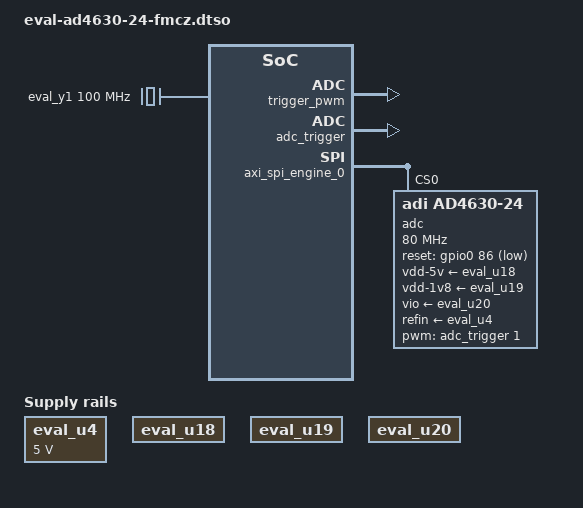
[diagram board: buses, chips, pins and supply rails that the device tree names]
/*
 * https://www.analog.com/en/resources/evaluation-hardware-and-software/evaluation-boards-kits/EVAL-AD4630-24.html
 */

/dts-v1/;
/plugin/;

#include <dt-bindings/gpio/gpio.h>
#include <dt-bindings/interrupt-controller/irq.h>

&{/} {
	eval_u4: eval-board-u4-regulator {
		compatible = "regulator-fixed";
		regulator-name = "EVAL 5V REFERENCE supply (U4)";
		regulator-min-microvolt = <5000000>;
		regulator-max-microvolt = <5000000>;
		regulator-always-on;
	};

	eval_u18: eval-board-u18-regulator {
		compatible = "regulator-fixed";
		regulator-name = "EVAL AVDD +5.4V supply (U18)";
		regulator-always-on;
	};

	eval_u19: eval-board-u19-regulator {
		compatible = "regulator-fixed";
		regulator-name = "EVAL 1.8V VDD supply (U19)";
		regulator-always-on;
	};

	eval_u20: eval-board-u20-regulator {
		compatible = "regulator-fixed";
		regulator-name = "EVAL 1.8V IOVDD supply (U20)";
		min-regulator-microvolt = <1800000>;
		max-regulator-microvolt = <1800000>;
		regulator-always-on;
	};

	eval_y1: eval-100mhz-clock {
		compatible = "fixed-clock";
		clock-frequency = <100000000>;
	};

	trigger_pwm: adc-pwm-trigger {
		compatible = "pwm-trigger";
		#trigger-source-cells = <0>;
		pwms = <&adc_trigger 0 10000 0>;
	};
};

&amba {
	#address-cells = <1>;
	#size-cells = <1>;
	interrupt-parent = <&intc>;

	adc_trigger: pwm@44b00000 {
		compatible = "adi,axi-pwmgen-2.00.a";
		reg = <0x44b00000 0x1000>;
		#pwm-cells = <3>;
		clocks = <&clkc 15>, <&eval_y1>;
		clock-names = "axi", "ext";
	};

	rx_dma: dma-controller@44a30000 {
		compatible = "adi,axi-dmac-1.00.a";
		reg = <0x44a30000 0x1000>;
		#dma-cells = <1>;
		interrupts = <0 57 IRQ_TYPE_LEVEL_HIGH>;
		clocks = <&clkc 15>;
	};

	spi_clk: clock-controller@44a70000 {
		compatible = "adi,axi-clkgen-2.00.a";
		reg = <0x44a70000 0x1000>;
		#clock-cells = <0>;
		clocks = <&clkc 15>, <&clkc 15>;
		clock-names = "clkin1", "s_axi_aclk";
		clock-output-names = "spi_clk";
		// assigned-clocks = <&spi_clk>;
		// assigned-clock-rates = <160000000>;
	};

	axi_spi_engine_0: spi@44a00000 {
		compatible = "adi,axi-spi-engine-1.00.a";
		reg = <0x44a00000 0x1000>;
		interrupts = <0 56 IRQ_TYPE_LEVEL_HIGH>;
		clocks = <&clkc 15>, <&spi_clk>;
		clock-names = "s_axi_aclk", "spi_clk";

		dmas = <&rx_dma 0>;
		dma-names = "offload0-rx";
		trigger-sources = <&trigger_pwm>;

		#address-cells = <1>;
		#size-cells = <0>;

		adc@0 {
			compatible = "adi,ad4630-24";
			reg = <0>;

			spi-max-frequency = <80000000>;

			vdd-5v-supply = <&eval_u18>;
			vdd-1v8-supply = <&eval_u19>;
			vio-supply = <&eval_u20>;
			/* JP5 is in default position. */
			refin-supply = <&eval_u4>;

			pwms = <&adc_trigger 1 1000000 0>;

			reset-gpios = <&gpio0 86 GPIO_ACTIVE_LOW>;
			// cnv-gpios = <&gpio0 90 GPIO_ACTIVE_HIGH>;
		};
	};
};
